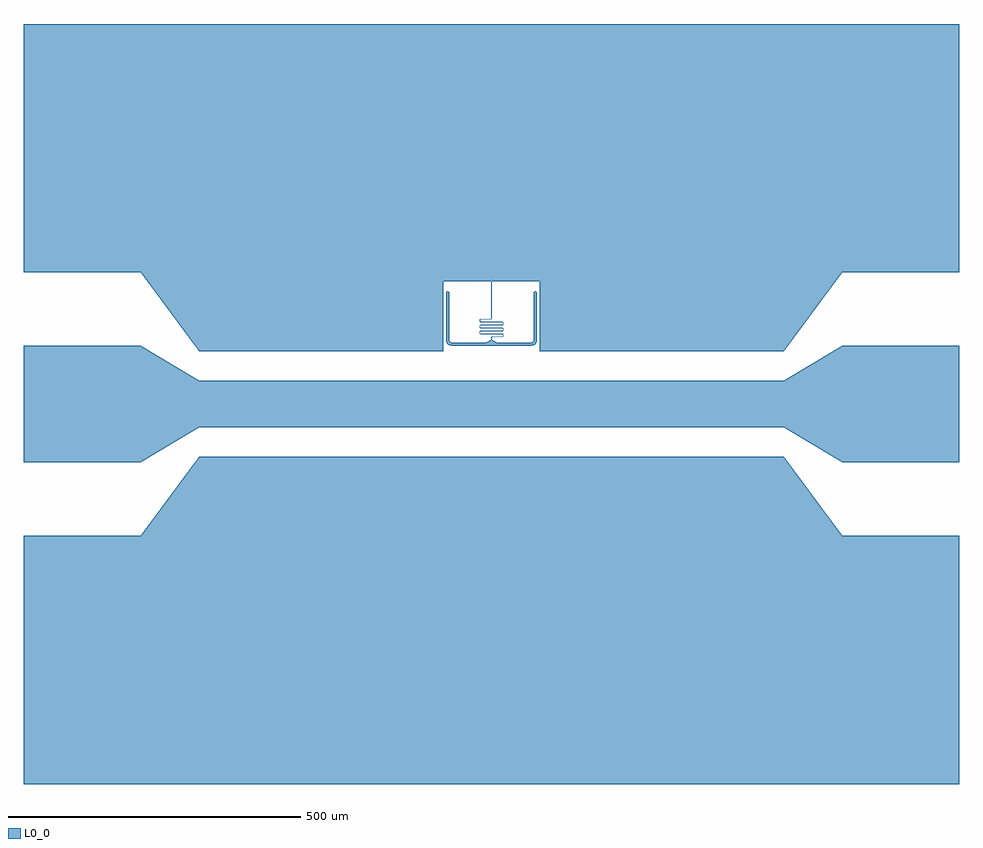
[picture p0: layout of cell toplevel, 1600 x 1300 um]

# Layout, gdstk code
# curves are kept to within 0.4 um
import gdstk
lib = gdstk.Library(unit=1e-6, precision=1e-09)
def P(c, l, *ps):  # polygons
    for p in ps: c.add(gdstk.Polygon(p, *l))
L0_0 = (0, 0)

toplevel = lib.new_cell('toplevel')
P(toplevel, L0_0, [(82.5,210),(82.5,90),(500,90),(600,225),(800,225),(800,650),(-800,650),(-800,225),(-600,225),(-500,90),(-82.5,90),(-82.5,210)],
  [(800,-650),(800,-225),(600,-225),(500,-90),(-500,-90),(-600,-225),(-800,-225),(-800,-650)],
  [(-75.109,192.498),(-76.768,191.768),(-77.498,190.109),(-77.49,110.479),(-76.385,104.964),(-73.184,101.459),(-70.238,100.343),(-66.598,100.003),(66.879,100.007),(72.427,101.063),(76.072,104.369),(77.201,107.478),(77.5,111.406),(77.5,190),(76.25,192.165),(73.75,192.165),(72.502,190.109),(72.493,110.67),(72.03,107.487),(70.724,105.813),(66.336,105.001),(-66.125,105),(-70.83,105.881),(-71.888,107.149),(-72.419,109.296),(-72.502,190.109),(-73.311,191.843)],
  [(0.3,110),(0.345,113.577),(0.59,114.206),(1.075,114.562),(2.026,114.699),(18.666,114.751),(19.488,115.056),(20.016,115.631),(20.262,116.426),(20.3,117.756),(20.217,118.829),(19.885,119.573),(19.279,120.062),(18.414,120.28),(-18.105,120.303),(-19.166,120.562),(-19.638,121.332),(-19.698,123.075),(-19.577,123.884),(-19.186,124.424),(-18.456,124.673),(18.189,124.706),(18.957,124.817),(19.552,125.1),(19.971,125.555),(20.219,126.183),(20.295,128.178),(20.107,129.177),(19.531,129.915),(18.551,130.266),(-18.095,130.303),(-19.152,130.553),(-19.628,131.288),(-19.698,133.035),(-19.58,133.875),(-19.193,134.419),(-18.456,134.673),(18.178,134.705),(18.934,134.81),(19.52,135.078),(19.944,135.512),(20.202,136.113),(20.296,138.122),(20.117,139.154),(19.541,139.908),(18.551,140.266),(-18.085,140.303),(-19.124,140.535),(-19.614,141.235),(-19.617,143.756),(-19.304,144.327),(-18.721,144.625),(-1.643,144.715),(-0.448,145.1),(0.183,146.043),(0.3,147.149),(0.3,210),(-0.3,210),(-0.393,146.209),(-0.841,145.557),(-1.766,145.308),(-18.899,145.199),(-19.712,144.767),(-20.17,144.003),(-20.299,142.948),(-20.193,141.078),(-19.93,140.49),(-19.51,140.07),(-18.178,139.705),(18.456,139.673),(19.193,139.419),(19.583,138.867),(19.699,138.015),(19.623,136.27),(19.145,135.548),(18.095,135.303),(-18.551,135.266),(-19.531,134.915),(-20.112,134.165),(-20.295,133.156),(-20.211,131.148),(-19.958,130.533),(-19.541,130.092),(-18.945,129.813),(-18.178,129.705),(18.456,129.673),(19.193,129.419),(19.58,128.875),(19.698,128.055),(19.634,126.314),(19.159,125.557),(18.095,125.303),(-18.551,125.266),(-19.531,124.915),(-20.107,124.177),(-20.294,123.189),(-20.224,121.206),(-19.978,120.566),(-19.562,120.107),(-18.969,119.82),(-18.189,119.706),(18.351,119.683),(19.004,119.528),(19.424,119.186),(19.647,118.623),(19.7,117.756),(19.513,115.965),(19.138,115.544),(18.503,115.333),(2.009,115.299),(0.858,115.121),(0.163,114.634),(-0.219,113.817),(-0.3,110)],
  [(10,105),(0.3,110),(-0.3,110),(-10,105)],
  [(-500,40),(-600,100),(-800,100),(-800,-100),(-600,-100),(-500,-40),(500,-40),(600,-100),(800,-100),(800,100),(600,100),(500,40)])

lib.write_gds('toplevel.gds')
